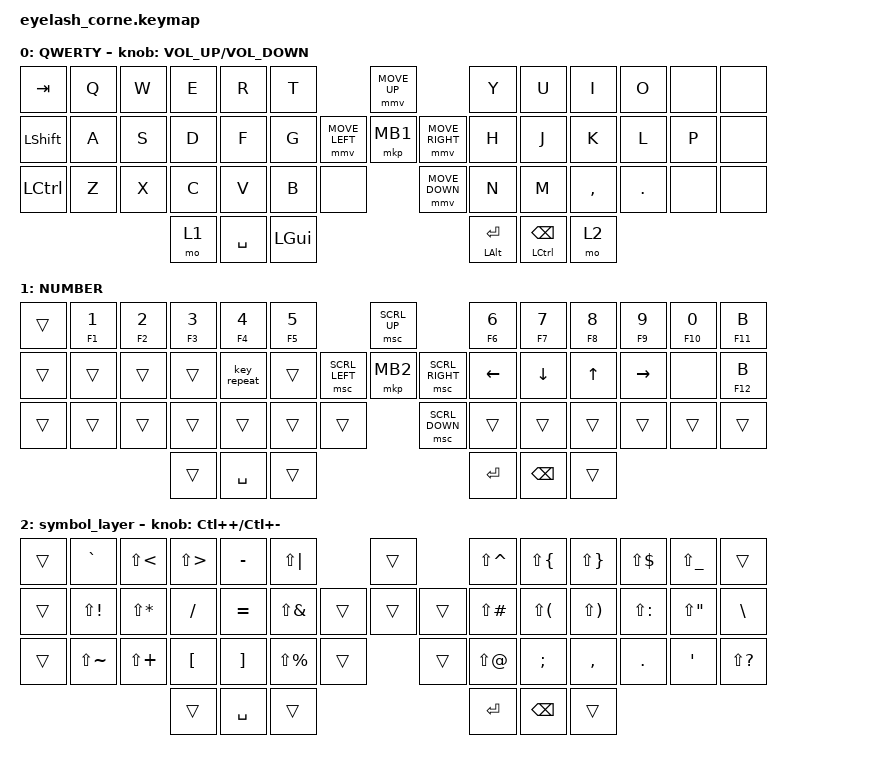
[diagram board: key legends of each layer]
#define ZMK_POINTING_DEFAULT_MOVE_VAL 1200  // 600
#define ZMK_POINTING_DEFAULT_SCRL_VAL 25   // 10

#include <input/processors.dtsi>
#include <zephyr/dt-bindings/input/input-event-codes.h>
#include <behaviors.dtsi>
#include <dt-bindings/zmk/keys.h>
#include <dt-bindings/zmk/pointing.h>
#include <dt-bindings/zmk/rgb.h>

&mmv_input_listener { input-processors = <&zip_xy_scaler 2 1>; };

&msc_input_listener { input-processors = <&zip_scroll_scaler 2 1>; };

&msc {
    acceleration-exponent = <1>;      // 0
    time-to-max-speed-ms = <100>;       // 300
    delay-ms = <0>;                   // 0
};

&mmv {
    time-to-max-speed-ms = <500>;
    acceleration-exponent = <1>;
    trigger-period-ms = <16>;
};

/ {
    behaviors {
        td0: td0 {
            compatible = "zmk,behavior-tap-dance";
            display-name = "Shift/Caps Lock Tap Dance";
            #binding-cells = <0>;
            bindings = <&kp LEFT_SHIFT>, <&kp CAPS>;
        };

        NUMSYM: NUMSYM {
            compatible = "zmk,behavior-tap-dance";
            label = "NUMSYM";
            #binding-cells = <0>;
            bindings = <&mo 1>, <&mo 0>;
        };

        WINALT: WINALT {
            compatible = "zmk,behavior-tap-dance";
            label = "WINALT";
            #binding-cells = <0>;
            bindings = <&kp LEFT_GUI>, <&kp LEFT_ALT>;
        };

        hti: hti {
            compatible = "zmk,behavior-hold-tap";
            label = "HTI";
            bindings = <&kp>, <&kp>;

            #binding-cells = <2>;
            tapping-term-ms = <200>;
            require-prior-idle-ms = <100>;
            flavor = "tap-preferred";
        };
    };

    rgb_encoder: rgb_encoder {
        compatible = "zmk,behavior-sensor-rotate";
        #sensor-binding-cells = <0>;
        bindings = <&rgb_ug RGB_BRI>, <&rgb_ug RGB_BRD>;
    };

    scroll_encoder: scroll_encoder {
        compatible = "zmk,behavior-sensor-rotate";
        #sensor-binding-cells = <0>;
        bindings = <&msc SCRL_DOWN>, <&msc SCRL_UP>;

        tap-ms = <100>;
    };

    combos {
        compatible = "zmk,combos";

        combo_esc {
            bindings = <&kp ESCAPE>;
            key-positions = <23 24>;
        };

        combo_esc2 {
            bindings = <&kp ESCAPE>;
            key-positions = <0 1>;
        };

        combo_dword {
            bindings = <&kp LC(BACKSPACE)>;
            key-positions = <43 46>;
        };
    };

    keymap {
        compatible = "zmk,keymap";

        default_layer {
            display-name = "QWERTY";
            bindings = <
&kp TAB    &kp Q  &kp W  &kp E  &kp R      &kp T                              &mmv MOVE_UP                     &kp Y                &kp U                 &kp I      &kp O    &none  &none
&kp LSHFT  &kp A  &kp S  &kp D  &kp F      &kp G              &mmv MOVE_LEFT  &mkp MB1        &mmv MOVE_RIGHT  &kp H                &kp J                 &kp K      &kp L    &kp P  &none
&kp LCTRL  &kp Z  &kp X  &kp C  &kp V      &kp B     &none                    &mmv MOVE_DOWN                   &kp N                &kp M                 &kp COMMA  &kp DOT  &none  &none
                         &mo 1  &kp SPACE  &kp LGUI                                                            &hti LEFT_ALT ENTER  &hti LCTRL BACKSPACE  &mo 2
            >;

            sensor-bindings = <&inc_dec_kp C_VOLUME_UP C_VOLUME_DOWN>;
        };

        raise_layer {
            bindings = <
&trans  &hti F1 NUMBER_1  &hti F2 NUMBER_2  &hti F3 NUMBER_3  &mt F4 NUMBER_4  &hti F5 N5                            &msc SCRL_UP                     &hti F6 NUMBER_6  &hti F7 N7  &hti F8 N8  &hti F9 N9  &hti F10 N0  &hti F11 B
&trans  &trans            &trans            &trans            &key_repeat      &trans                &msc SCRL_LEFT  &mkp MB2        &msc SCRL_RIGHT  &kp LEFT          &kp DOWN    &kp UP      &kp RIGHT   &none        &hti F12 B
&trans  &trans            &trans            &trans            &trans           &trans      &trans                    &msc SCRL_DOWN                   &trans            &trans      &trans      &trans      &trans       &trans
                                            &trans            &kp SPACE        &trans                                                                 &kp RET           &kp BSPC    &trans
            >;

            label = "NUMBER";
        };

        symbol_layer {
            bindings = <
&trans  &kp GRAVE      &kp LS(LT)    &kp LS(GT)  &kp MINUS  &kp LS(PIPE)                     &trans          &kp LS(CARET)  &kp LS(LBRC)  &kp LS(RBRC)  &kp LS(DLLR)   &kp LS(UNDER)  &trans
&trans  &kp LS(EXCL)   &kp LS(STAR)  &kp FSLH    &kp EQUAL  &kp LS(AMPS)             &trans  &trans  &trans  &kp LS(POUND)  &kp LS(LPAR)  &kp LS(RPAR)  &kp LS(COLON)  &kp LS(DQT)    &kp BSLH
&trans  &kp LS(TILDE)  &kp LS(PLUS)  &kp LBKT    &kp RBKT   &kp LS(PRCNT)  &trans            &trans          &kp LS(AT)     &kp SEMI      &kp COMMA     &kp DOT        &kp SQT        &kp LS(QMARK)
                                     &trans      &kp SPACE  &trans                                           &kp RET        &kp BSPC      &trans
            >;

            sensor-bindings = <&inc_dec_kp LC(PLUS) LC(MINUS)>;
        };
    };
};
